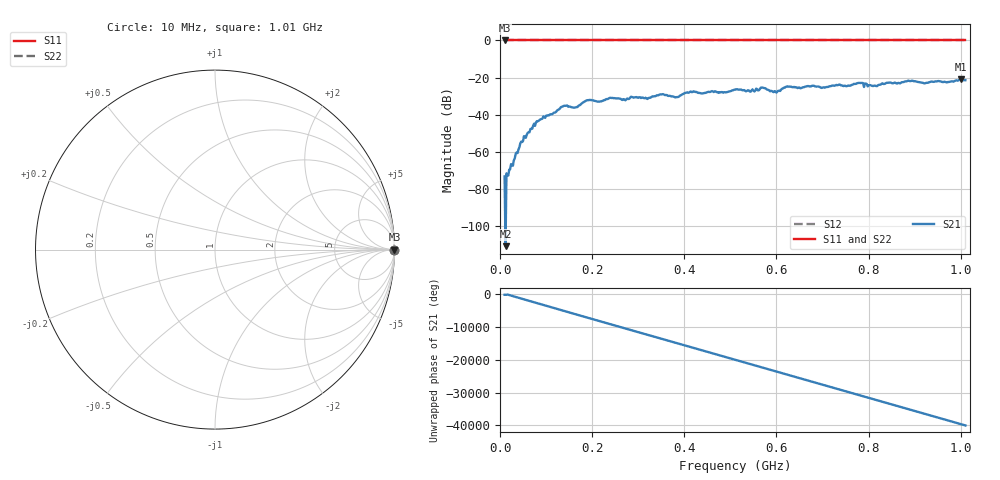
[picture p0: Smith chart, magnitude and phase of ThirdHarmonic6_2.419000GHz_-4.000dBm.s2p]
! 8/17/2025 4:06:36 AM
! C:\ANRITSUVNA\TEMP\TEMP.S2P
! CHANNEL.1
! TR.MEASUREMENT
! RAW.DATA
! RF.CORRECTION.OFF
! AVERAGING.OFF
! IF.BANDWIDTH: 5KHZ
! SWEEPTYPE:  FREQ.SWEEP(Linear)
! Reference Plane Port Info
! PORT:  PORT1  PORT2
! DISTANCE:  0  m  0  m
! TIME:  0  s  0  s
! PHASE.OFFSET:  0  deg.  0  deg.
! LOSS:  0  dB  0  dB
! REF.LOSS:  0  dB  0  dB
! REF.FREQ:  0  Hz  0  Hz
! Power Info
! POWER:  -20  dBm  -20  dBm
! EFF.POWER:  -20  dBm  -20  dBm
! SOURCE.ATTEN:  0  dB  0  dB
! TEST.ATTEN:  0  dB  0  dB
# GHZ S RI R 50.0
! FREQ.GHZ  S11RE  S11IM  S21RE  S21IM  S12RE  S12IM  S22RE  S22IM
!; PortSelection: Port_12
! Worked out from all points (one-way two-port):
!   501 points, 10 MHz to 1.01 GHz, reference 50 ohm
!   highest |S21| = -20.83 dB at 1 GHz (marker M1); lowest = -110.7 dB at 12 MHz (marker M2)
!   lowest |S11| = 0.0 dB at 10 MHz (marker M3)
!   |S11| at or under -10 dB: nowhere
!   |S22| runs from 0.0 to 0.0 dB; largest |S21 - S12| = 1.1
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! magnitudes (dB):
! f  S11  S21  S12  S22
! 10 MHz  0.0  -73.2  0.0  0.0
! 12 MHz  0.0  -110.7  0.0  0.0
! 16 MHz  0.0  -72.5  0.0  0.0
! 48 MHz  0.0  -54.7  0.0  0.0
! 76 MHz  0.0  -46.0  0.0  0.0
! 136 MHz  0.0  -35.6  0.0  0.0
! 164 MHz  0.0  -36.1  0.0  0.0
! 178 MHz  0.0  -33.8  0.0  0.0
! 192 MHz  0.0  -32.2  0.0  0.0
! 344 MHz  0.0  -29.5  0.0  0.0
! 384 MHz  0.0  -30.5  0.0  0.0
! 416 MHz  0.0  -27.8  0.0  0.0
! 510 MHz  0.0  -26.5  0.0  0.0
! 570 MHz  0.0  -25.4  0.0  0.0
! 598 MHz  0.0  -27.5  0.0  0.0
! 624 MHz  0.0  -24.7  0.0  0.0
! 678 MHz  0.0  -24.4  0.0  0.0
! 782 MHz  0.0  -22.9  0.0  0.0
! 814 MHz  0.0  -24.3  0.0  0.0
! 844 MHz  0.0  -22.7  0.0  0.0
! 1 GHz  0.0  -20.8  0.0  0.0
! 1.01 GHz  0.0  -21.4  0.0  0.0
